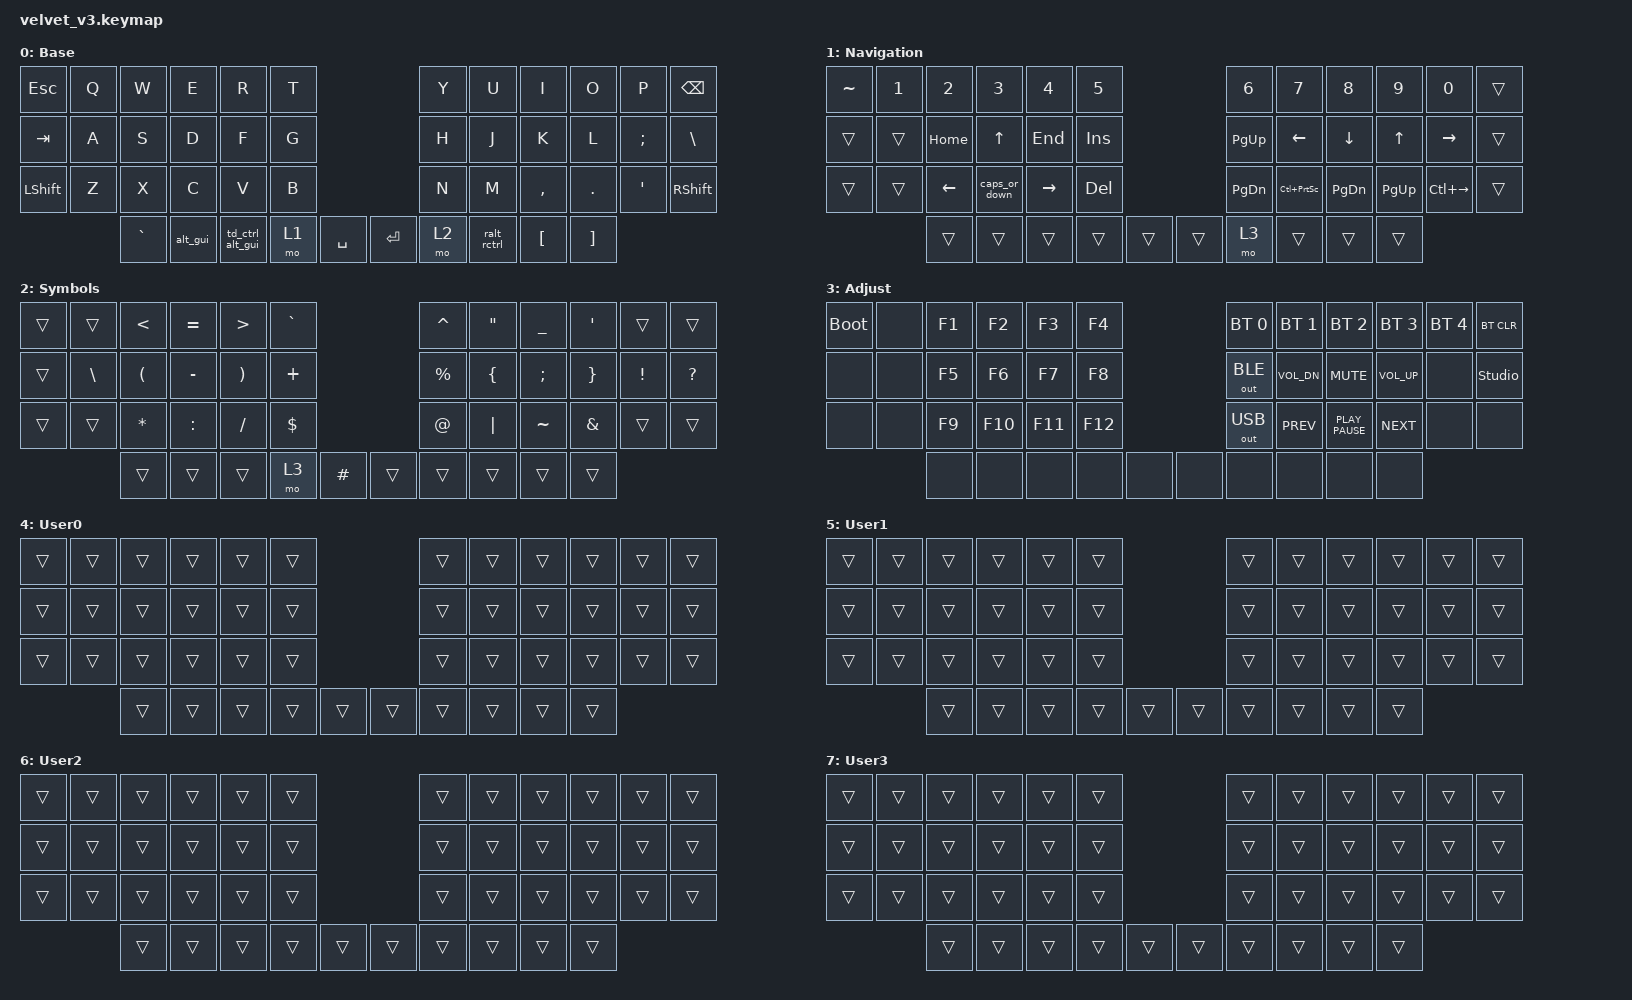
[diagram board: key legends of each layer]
#include "keys_ru.h"
#include <behaviors.dtsi>
#include <dt-bindings/zmk/bt.h>
#include <dt-bindings/zmk/keys.h>
#include <dt-bindings/zmk/outputs.h>

/ {
    behaviors {
        caps_or_down: caps_or_down {
            compatible = "zmk,behavior-mod-morph";
            bindings = <&kp DOWN>, <&kp CAPSLOCK>;

            #binding-cells = <0>;
            mods = <(MOD_LSFT)>;
            label = "CAPS_OR_DOWN";
        };

        td_ctrl_alt_gui: td_ctrl_alt_gui {
            compatible = "zmk,behavior-tap-dance";
            bindings = <&kp LCTRL>, <&kp LALT>, <&kp LGUI>;

            #binding-cells = <0>;
            tapping-term-ms = <250>;
        };

        alt_gui: alt_gui {
            compatible = "zmk,behavior-tap-dance";
            bindings = <&kp LEFT_ALT>, <&trans>, <&kp LEFT_GUI>;

            #binding-cells = <0>;
            tapping-term-ms = <250>;
            label = "ALT_GUI";
        };

        pg_down_prtSc: pg_down_prtSc {
            compatible = "zmk,behavior-tap-dance";
            bindings = <&kp PG_DN>, <&none>, <&kp PRINTSCREEN>;

            #binding-cells = <0>;
            tapping-term-ms = <250>;
            label = "PG_DOWN_PRTSC";
        };

        ralt_rctrl: ralt_rctrl {
            compatible = "zmk,behavior-tap-dance";
            bindings = <&kp RIGHT_ALT>, <&kp RCTRL>;

            #binding-cells = <0>;
            tapping-term-ms = <250>;
            label = "RALT_RCTRL";
        };
    };

    keymap {
        compatible = "zmk,keymap";

        Base {
            bindings = <
&kp ESC    &kp Q  &kp W      &kp E     &kp R             &kp T                        &kp Y  &kp U        &kp I      &kp O     &kp P     &kp BSPC
&kp TAB    &kp A  &kp S      &kp D     &kp F             &kp G                        &kp H  &kp J        &kp K      &kp L     &kp SEMI  &kp BSLH
&kp LSHFT  &kp Z  &kp X      &kp C     &kp V             &kp B                        &kp N  &kp M        &kp COMMA  &kp DOT   &kp SQT   &kp RSHFT
                  &kp GRAVE  &alt_gui  &td_ctrl_alt_gui  &mo 1  &kp SPACE    &kp RET  &mo 2  &ralt_rctrl  &kp LBKT   &kp RBKT
            >;

            display-name = "Base";
        };

        Navigation {
            bindings = <
&kp TILDE  &kp N1  &kp N2    &kp N3         &kp N4     &kp N5                     &kp N6         &kp N7               &kp N8         &kp N9       &kp N0         &trans
&trans     &trans  &kp HOME  &kp UP         &kp END    &kp INS                    &kp PG_UP      &kp LEFT             &kp DOWN       &kp UP       &kp RIGHT      &trans
&trans     &trans  &kp LEFT  &caps_or_down  &kp RIGHT  &kp DEL                    &kp PAGE_DOWN  &kp LC(PRINTSCREEN)  &kp PAGE_DOWN  &kp PAGE_UP  &kp LC(RIGHT)  &trans
                   &trans    &trans         &trans     &trans   &trans    &trans  &mo 3          &trans               &trans         &trans
            >;

            display-name = "Navigation";
        };

        Symbols {
            bindings = <
&trans  &trans    &kp LT    &kp EQUAL  &kp GT    &kp GRAVE                      &kp CARET  &kp DQT   &kp UNDER  &kp SQT   &trans    &trans
&trans  &kp BSLH  &kp LPAR  &kp MINUS  &kp RPAR  &kp PLUS                       &kp PRCNT  &kp LBRC  &kp SEMI   &kp RBRC  &kp EXCL  &kp QUESTION
&trans  &trans    &kp STAR  &kp COLON  &kp FSLH  &kp DLLR                       &kp AT     &kp PIPE  &kp TILDE  &kp AMPS  &trans    &trans
                  &trans    &trans     &trans    &mo 3      &kp HASH    &trans  &trans     &trans    &trans     &trans
            >;

            display-name = "Symbols";
        };

        Adjust {
            bindings = <
&bootloader  &none  &kp F1  &kp F2   &kp F3   &kp F4                   &bt BT_SEL 0  &bt BT_SEL 1  &bt BT_SEL 2      &bt BT_SEL 3  &bt BT_SEL 4  &bt BT_CLR
&none        &none  &kp F5  &kp F6   &kp F7   &kp F8                   &out OUT_BLE  &kp C_VOL_DN  &kp K_MUTE        &kp C_VOL_UP  &none         &studio_unlock
&none        &none  &kp F9  &kp F10  &kp F11  &kp F12                  &out OUT_USB  &kp K_PREV    &kp K_PLAY_PAUSE  &kp K_NEXT    &none         &none
                    &none   &none    &none    &none    &none    &none  &none         &none         &none             &none
            >;

            display-name = "Adjust";
        };

        User0 {
            bindings = <
&trans  &trans  &trans  &trans  &trans  &trans                    &trans  &trans  &trans  &trans  &trans  &trans
&trans  &trans  &trans  &trans  &trans  &trans                    &trans  &trans  &trans  &trans  &trans  &trans
&trans  &trans  &trans  &trans  &trans  &trans                    &trans  &trans  &trans  &trans  &trans  &trans
                &trans  &trans  &trans  &trans  &trans    &trans  &trans  &trans  &trans  &trans
            >;

            display-name = "User0";
        };

        User1 {
            bindings = <
&trans  &trans  &trans  &trans  &trans  &trans                    &trans  &trans  &trans  &trans  &trans  &trans
&trans  &trans  &trans  &trans  &trans  &trans                    &trans  &trans  &trans  &trans  &trans  &trans
&trans  &trans  &trans  &trans  &trans  &trans                    &trans  &trans  &trans  &trans  &trans  &trans
                &trans  &trans  &trans  &trans  &trans    &trans  &trans  &trans  &trans  &trans
            >;

            display-name = "User1";
        };

        User2 {
            bindings = <
&trans  &trans  &trans  &trans  &trans  &trans                    &trans  &trans  &trans  &trans  &trans  &trans
&trans  &trans  &trans  &trans  &trans  &trans                    &trans  &trans  &trans  &trans  &trans  &trans
&trans  &trans  &trans  &trans  &trans  &trans                    &trans  &trans  &trans  &trans  &trans  &trans
                &trans  &trans  &trans  &trans  &trans    &trans  &trans  &trans  &trans  &trans
            >;

            display-name = "User2";
        };

        User3 {
            bindings = <
&trans  &trans  &trans  &trans  &trans  &trans                    &trans  &trans  &trans  &trans  &trans  &trans
&trans  &trans  &trans  &trans  &trans  &trans                    &trans  &trans  &trans  &trans  &trans  &trans
&trans  &trans  &trans  &trans  &trans  &trans                    &trans  &trans  &trans  &trans  &trans  &trans
                &trans  &trans  &trans  &trans  &trans    &trans  &trans  &trans  &trans  &trans
            >;

            display-name = "User3";
        };
    };
};
